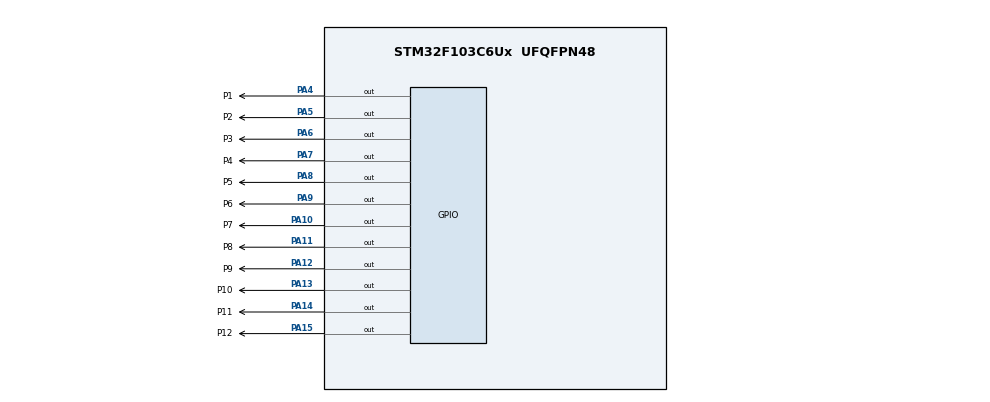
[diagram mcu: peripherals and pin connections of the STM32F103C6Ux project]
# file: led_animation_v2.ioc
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Mcu.Family=STM32F1
Mcu.Name=STM32F103C6Ux
Mcu.Package=UFQFPN48
NVIC.PriorityGroup=NVIC_PRIORITYGROUP_4
PA10.GPIO_Label=P7
PA10.Signal=GPIO_Output
PA11.GPIO_Label=P8
PA11.Signal=GPIO_Output
PA12.GPIO_Label=P9
PA12.Signal=GPIO_Output
PA13.GPIO_Label=P10
PA13.Signal=GPIO_Output
PA14.GPIO_Label=P11
PA14.Signal=GPIO_Output
PA15.GPIO_Label=P12
PA15.Signal=GPIO_Output
PA4.GPIO_Label=P1
PA4.Signal=GPIO_Output
PA5.GPIO_Label=P2
PA5.Signal=GPIO_Output
PA6.GPIO_Label=P3
PA6.Signal=GPIO_Output
PA7.GPIO_Label=P4
PA7.Signal=GPIO_Output
PA8.GPIO_Label=P5
PA8.Signal=GPIO_Output
PA9.GPIO_Label=P6
PA9.Signal=GPIO_Output
ProjectManager.HeapSize=0x200
ProjectManager.StackSize=0x400
ProjectManager.TargetToolchain=STM32CubeIDE
RCC.APB1Freq_Value=8000000
RCC.APB2Freq_Value=8000000
VP_SYS_VS_ND.Mode=No_Debug
board=custom

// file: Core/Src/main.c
/* USER CODE BEGIN Header */
/**
  ******************************************************************************
  * @file           : main.c
  * @brief          : Main program body
  ******************************************************************************
  * @attention
  *
  * <h2><center>&copy; Copyright (c) 2022 STMicroelectronics.
  * All rights reserved.</center></h2>
  *
  * This software component is licensed by ST under BSD 3-Clause license,
  * the "License"; You may not use this file except in compliance with the
  * License. You may obtain a copy of the License at:
  *                        opensource.org/licenses/BSD-3-Clause
  *
  ******************************************************************************
  */
/* USER CODE END Header */
#include "main.h"

void SystemClock_Config(void);
static void MX_GPIO_Init(void);
/* USER CODE BEGIN PFP */
void AnalogClock(int num);
void clearAllClock();
void clockDisplay(int hour, int min, int sec);
void singleLedDisplay(int num);
/* USER CODE END PFP */

int main(void)
{

  /* MCU Configuration--------------------------------------------------------*/

  /* Reset of all peripherals, Initializes the Flash interface and the Systick. */
  HAL_Init();

  /* Configure the system clock */
  SystemClock_Config();

  /* Initialize all configured peripherals */
  MX_GPIO_Init();

  /* Infinite loop */
  /* USER CODE BEGIN WHILE */
  int hour = 0, min = 0, sec = 0;

  while (1)
  {
	  //EX6

	  /*for(int i = 1; i <= 12; i++){
		  AnalogClock(i);
		  if(i >= 12) i = 0;
		  HAL_Delay (1000);
	  }*/
	  //ex10
	  sec++;

	  if(sec >= 60){
		  sec = 0;
		  min++;
	  }
	  if(min >= 60){
		  hour++;
		  min = 0;
	  }
	  if(hour >= 24) hour = 0;
	  //display
	  clockDisplay(hour, min, sec);
	  HAL_Delay (20);
    /* USER CODE END WHILE */

  }
}

void SystemClock_Config(void)
{
  RCC_OscInitTypeDef RCC_OscInitStruct = {0};
  RCC_ClkInitTypeDef RCC_ClkInitStruct = {0};

  /** Initializes the RCC Oscillators according to the specified parameters
  * in the RCC_OscInitTypeDef structure.
  */
  RCC_OscInitStruct.OscillatorType = RCC_OSCILLATORTYPE_HSI;
  RCC_OscInitStruct.HSIState = RCC_HSI_ON;
  RCC_OscInitStruct.HSICalibrationValue = RCC_HSICALIBRATION_DEFAULT;
  RCC_OscInitStruct.PLL.PLLState = RCC_PLL_NONE;
  if (HAL_RCC_OscConfig(&RCC_OscInitStruct) != HAL_OK)
  {
    Error_Handler();
  }
  /** Initializes the CPU, AHB and APB buses clocks
  */
  RCC_ClkInitStruct.ClockType = RCC_CLOCKTYPE_HCLK|RCC_CLOCKTYPE_SYSCLK
                              |RCC_CLOCKTYPE_PCLK1|RCC_CLOCKTYPE_PCLK2;
  RCC_ClkInitStruct.SYSCLKSource = RCC_SYSCLKSOURCE_HSI;
  RCC_ClkInitStruct.AHBCLKDivider = RCC_SYSCLK_DIV1;
  RCC_ClkInitStruct.APB1CLKDivider = RCC_HCLK_DIV1;
  RCC_ClkInitStruct.APB2CLKDivider = RCC_HCLK_DIV1;

  if (HAL_RCC_ClockConfig(&RCC_ClkInitStruct, FLASH_LATENCY_0) != HAL_OK)
  {
    Error_Handler();
  }
}

static void MX_GPIO_Init(void)
{
  GPIO_InitTypeDef GPIO_InitStruct = {0};

  /* GPIO Ports Clock Enable */
  __HAL_RCC_GPIOA_CLK_ENABLE();

  /*Configure GPIO pin Output Level */
  HAL_GPIO_WritePin(GPIOA, P1_Pin|P2_Pin|P3_Pin|P4_Pin
                          |P5_Pin|P6_Pin|P7_Pin|P8_Pin
                          |P9_Pin|P10_Pin|P11_Pin|P12_Pin, GPIO_PIN_RESET);

  /*Configure GPIO pins : P1_Pin P2_Pin P3_Pin P4_Pin
                           P5_Pin P6_Pin P7_Pin P8_Pin
                           P9_Pin P10_Pin P11_Pin P12_Pin */
  GPIO_InitStruct.Pin = P1_Pin|P2_Pin|P3_Pin|P4_Pin
                          |P5_Pin|P6_Pin|P7_Pin|P8_Pin
                          |P9_Pin|P10_Pin|P11_Pin|P12_Pin;
  GPIO_InitStruct.Mode = GPIO_MODE_OUTPUT_PP;
  GPIO_InitStruct.Pull = GPIO_NOPULL;
  GPIO_InitStruct.Speed = GPIO_SPEED_FREQ_LOW;
  HAL_GPIO_Init(GPIOA, &GPIO_InitStruct);

}

/* USER CODE BEGIN 4 */
void clockDisplay(int hour, int min, int sec){
	  int hourD, minD, secD;
	  if(sec%5 >= 3){
	  	  secD = sec/5+1;
	  }
	  else{
          if(sec/5 == 0) secD = 12;
  	      else secD = sec/5;
	  }
	  if(min%5 >= 3){
		  minD = min/5+1;
	  }
	  else{
  	      if(min/5 == 0) minD = 12;
	 	  else minD = min/5;
	  }
	  if(hour%12 == 0){
	  	  hourD = 12;
	  }
	  else hourD = hour%12;

	  clearAllClock();
	  singleLedDisplay(secD);
	  singleLedDisplay(minD);
	  singleLedDisplay(hourD);
}

void singleLedDisplay(int num){
	switch(num){
	case 1:
		HAL_GPIO_WritePin ( P1_GPIO_Port , P1_Pin ,GPIO_PIN_RESET );
		break;
	case 2:
		HAL_GPIO_WritePin ( P2_GPIO_Port , P2_Pin ,GPIO_PIN_RESET );
		break;
	case 3:
		HAL_GPIO_WritePin ( P3_GPIO_Port , P3_Pin ,GPIO_PIN_RESET );
		break;
	case 4:
		HAL_GPIO_WritePin ( P4_GPIO_Port , P4_Pin ,GPIO_PIN_RESET );
		break;
	case 5:
		HAL_GPIO_WritePin ( P5_GPIO_Port , P5_Pin ,GPIO_PIN_RESET );
		break;
	case 6:
		HAL_GPIO_WritePin ( P6_GPIO_Port , P6_Pin ,GPIO_PIN_RESET );
		break;
	case 7:
		HAL_GPIO_WritePin ( P7_GPIO_Port , P7_Pin ,GPIO_PIN_RESET );
		break;
	case 8:
		HAL_GPIO_WritePin ( P8_GPIO_Port , P8_Pin ,GPIO_PIN_RESET );
		break;
	case 9:
		HAL_GPIO_WritePin ( P9_GPIO_Port , P9_Pin ,GPIO_PIN_RESET );
		break;
	case 10:
		HAL_GPIO_WritePin ( P10_GPIO_Port , P10_Pin ,GPIO_PIN_RESET );
		break;
	case 11:
		HAL_GPIO_WritePin ( P11_GPIO_Port , P11_Pin ,GPIO_PIN_RESET );
		break;
	case 12:
		HAL_GPIO_WritePin ( P12_GPIO_Port , P12_Pin ,GPIO_PIN_RESET );
		break;
	default:
		HAL_GPIO_WritePin ( P12_GPIO_Port , P12_Pin ,GPIO_PIN_RESET );
		break;
	}
}

void clearAllClock() {
	HAL_GPIO_WritePin ( P1_GPIO_Port , P1_Pin ,GPIO_PIN_SET );
	HAL_GPIO_WritePin ( P2_GPIO_Port , P2_Pin ,GPIO_PIN_SET );
	HAL_GPIO_WritePin ( P3_GPIO_Port , P3_Pin ,GPIO_PIN_SET );
	HAL_GPIO_WritePin ( P4_GPIO_Port , P4_Pin ,GPIO_PIN_SET );
	HAL_GPIO_WritePin ( P5_GPIO_Port , P5_Pin ,GPIO_PIN_SET );
	HAL_GPIO_WritePin ( P6_GPIO_Port , P6_Pin ,GPIO_PIN_SET );
	HAL_GPIO_WritePin ( P7_GPIO_Port , P7_Pin ,GPIO_PIN_SET );
	HAL_GPIO_WritePin ( P8_GPIO_Port , P8_Pin ,GPIO_PIN_SET );
	HAL_GPIO_WritePin ( P9_GPIO_Port , P9_Pin ,GPIO_PIN_SET );
	HAL_GPIO_WritePin ( P10_GPIO_Port , P10_Pin ,GPIO_PIN_SET );
	HAL_GPIO_WritePin ( P11_GPIO_Port , P11_Pin ,GPIO_PIN_SET );
	HAL_GPIO_WritePin ( P12_GPIO_Port , P12_Pin ,GPIO_PIN_SET );
}
void AnalogClock(int num){
	switch(num){
	case 1:
		HAL_GPIO_WritePin ( P1_GPIO_Port , P1_Pin ,GPIO_PIN_RESET );
		HAL_GPIO_WritePin ( P2_GPIO_Port , P2_Pin ,GPIO_PIN_SET );
		HAL_GPIO_WritePin ( P3_GPIO_Port , P3_Pin ,GPIO_PIN_SET );
		HAL_GPIO_WritePin ( P4_GPIO_Port , P4_Pin ,GPIO_PIN_SET );
		HAL_GPIO_WritePin ( P5_GPIO_Port , P5_Pin ,GPIO_PIN_SET );
		HAL_GPIO_WritePin ( P6_GPIO_Port , P6_Pin ,GPIO_PIN_SET );
		HAL_GPIO_WritePin ( P7_GPIO_Port , P7_Pin ,GPIO_PIN_SET );
		HAL_GPIO_WritePin ( P8_GPIO_Port , P8_Pin ,GPIO_PIN_SET );
		HAL_GPIO_WritePin ( P9_GPIO_Port , P9_Pin ,GPIO_PIN_SET );
		HAL_GPIO_WritePin ( P10_GPIO_Port , P10_Pin ,GPIO_PIN_SET );
		HAL_GPIO_WritePin ( P11_GPIO_Port , P11_Pin ,GPIO_PIN_SET );
		HAL_GPIO_WritePin ( P12_GPIO_Port , P12_Pin ,GPIO_PIN_SET );
		break;
	case 2:
		HAL_GPIO_WritePin ( P1_GPIO_Port , P1_Pin ,GPIO_PIN_SET );
		HAL_GPIO_WritePin ( P2_GPIO_Port , P2_Pin ,GPIO_PIN_RESET );
		HAL_GPIO_WritePin ( P3_GPIO_Port , P3_Pin ,GPIO_PIN_SET );
		HAL_GPIO_WritePin ( P4_GPIO_Port , P4_Pin ,GPIO_PIN_SET );
		HAL_GPIO_WritePin ( P5_GPIO_Port , P5_Pin ,GPIO_PIN_SET );
		HAL_GPIO_WritePin ( P6_GPIO_Port , P6_Pin ,GPIO_PIN_SET );
		HAL_GPIO_WritePin ( P7_GPIO_Port , P7_Pin ,GPIO_PIN_SET );
		HAL_GPIO_WritePin ( P8_GPIO_Port , P8_Pin ,GPIO_PIN_SET );
		HAL_GPIO_WritePin ( P9_GPIO_Port , P9_Pin ,GPIO_PIN_SET );
		HAL_GPIO_WritePin ( P10_GPIO_Port , P10_Pin ,GPIO_PIN_SET );
		HAL_GPIO_WritePin ( P11_GPIO_Port , P11_Pin ,GPIO_PIN_SET );
		HAL_GPIO_WritePin ( P12_GPIO_Port , P12_Pin ,GPIO_PIN_SET );
		break;
	case 3:
		HAL_GPIO_WritePin ( P1_GPIO_Port , P1_Pin ,GPIO_PIN_SET );
		HAL_GPIO_WritePin ( P2_GPIO_Port , P2_Pin ,GPIO_PIN_SET );
		HAL_GPIO_WritePin ( P3_GPIO_Port , P3_Pin ,GPIO_PIN_RESET );
		HAL_GPIO_WritePin ( P4_GPIO_Port , P4_Pin ,GPIO_PIN_SET );
		HAL_GPIO_WritePin ( P5_GPIO_Port , P5_Pin ,GPIO_PIN_SET );
		HAL_GPIO_WritePin ( P6_GPIO_Port , P6_Pin ,GPIO_PIN_SET );
		HAL_GPIO_WritePin ( P7_GPIO_Port , P7_Pin ,GPIO_PIN_SET );
		HAL_GPIO_WritePin ( P8_GPIO_Port , P8_Pin ,GPIO_PIN_SET );
		HAL_GPIO_WritePin ( P9_GPIO_Port , P9_Pin ,GPIO_PIN_SET );
		HAL_GPIO_WritePin ( P10_GPIO_Port , P10_Pin ,GPIO_PIN_SET );
		HAL_GPIO_WritePin ( P11_GPIO_Port , P11_Pin ,GPIO_PIN_SET );
		HAL_GPIO_WritePin ( P12_GPIO_Port , P12_Pin ,GPIO_PIN_SET );
		break;
	case 4:
		HAL_GPIO_WritePin ( P1_GPIO_Port , P1_Pin ,GPIO_PIN_SET );
		HAL_GPIO_WritePin ( P2_GPIO_Port , P2_Pin ,GPIO_PIN_SET );
		HAL_GPIO_WritePin ( P3_GPIO_Port , P3_Pin ,GPIO_PIN_SET );
		HAL_GPIO_WritePin ( P4_GPIO_Port , P4_Pin ,GPIO_PIN_RESET );
		HAL_GPIO_WritePin ( P5_GPIO_Port , P5_Pin ,GPIO_PIN_SET );
		HAL_GPIO_WritePin ( P6_GPIO_Port , P6_Pin ,GPIO_PIN_SET );
		HAL_GPIO_WritePin ( P7_GPIO_Port , P7_Pin ,GPIO_PIN_SET );
		HAL_GPIO_WritePin ( P8_GPIO_Port , P8_Pin ,GPIO_PIN_SET );
		HAL_GPIO_WritePin ( P9_GPIO_Port , P9_Pin ,GPIO_PIN_SET );
		HAL_GPIO_WritePin ( P10_GPIO_Port , P10_Pin ,GPIO_PIN_SET );
		HAL_GPIO_WritePin ( P11_GPIO_Port , P11_Pin ,GPIO_PIN_SET );
		HAL_GPIO_WritePin ( P12_GPIO_Port , P12_Pin ,GPIO_PIN_SET );
		break;
	case 5:
		HAL_GPIO_WritePin ( P1_GPIO_Port , P1_Pin ,GPIO_PIN_SET );
		HAL_GPIO_WritePin ( P2_GPIO_Port , P2_Pin ,GPIO_PIN_SET );
		HAL_GPIO_WritePin ( P3_GPIO_Port , P3_Pin ,GPIO_PIN_SET );
		HAL_GPIO_WritePin ( P4_GPIO_Port , P4_Pin ,GPIO_PIN_SET );
		HAL_GPIO_WritePin ( P5_GPIO_Port , P5_Pin ,GPIO_PIN_RESET );
		HAL_GPIO_WritePin ( P6_GPIO_Port , P6_Pin ,GPIO_PIN_SET );
		HAL_GPIO_WritePin ( P7_GPIO_Port , P7_Pin ,GPIO_PIN_SET );
		HAL_GPIO_WritePin ( P8_GPIO_Port , P8_Pin ,GPIO_PIN_SET );
		HAL_GPIO_WritePin ( P9_GPIO_Port , P9_Pin ,GPIO_PIN_SET );
		HAL_GPIO_WritePin ( P10_GPIO_Port , P10_Pin ,GPIO_PIN_SET );
		HAL_GPIO_WritePin ( P11_GPIO_Port , P11_Pin ,GPIO_PIN_SET );
		HAL_GPIO_WritePin ( P12_GPIO_Port , P12_Pin ,GPIO_PIN_SET );
		break;
	case 6:
		HAL_GPIO_WritePin ( P1_GPIO_Port , P1_Pin ,GPIO_PIN_SET );
		HAL_GPIO_WritePin ( P2_GPIO_Port , P2_Pin ,GPIO_PIN_SET );
		HAL_GPIO_WritePin ( P3_GPIO_Port , P3_Pin ,GPIO_PIN_SET );
		HAL_GPIO_WritePin ( P4_GPIO_Port , P4_Pin ,GPIO_PIN_SET );
		HAL_GPIO_WritePin ( P5_GPIO_Port , P5_Pin ,GPIO_PIN_SET );
		HAL_GPIO_WritePin ( P6_GPIO_Port , P6_Pin ,GPIO_PIN_RESET );
		HAL_GPIO_WritePin ( P7_GPIO_Port , P7_Pin ,GPIO_PIN_SET );
		HAL_GPIO_WritePin ( P8_GPIO_Port , P8_Pin ,GPIO_PIN_SET );
		HAL_GPIO_WritePin ( P9_GPIO_Port , P9_Pin ,GPIO_PIN_SET );
		HAL_GPIO_WritePin ( P10_GPIO_Port , P10_Pin ,GPIO_PIN_SET );
		HAL_GPIO_WritePin ( P11_GPIO_Port , P11_Pin ,GPIO_PIN_SET );
		HAL_GPIO_WritePin ( P12_GPIO_Port , P12_Pin ,GPIO_PIN_SET );
		break;
	case 7:
		HAL_GPIO_WritePin ( P1_GPIO_Port , P1_Pin ,GPIO_PIN_SET );
		HAL_GPIO_WritePin ( P2_GPIO_Port , P2_Pin ,GPIO_PIN_SET );
		HAL_GPIO_WritePin ( P3_GPIO_Port , P3_Pin ,GPIO_PIN_SET );
		HAL_GPIO_WritePin ( P4_GPIO_Port , P4_Pin ,GPIO_PIN_SET );
		HAL_GPIO_WritePin ( P5_GPIO_Port , P5_Pin ,GPIO_PIN_SET );
		HAL_GPIO_WritePin ( P6_GPIO_Port , P6_Pin ,GPIO_PIN_SET );
		HAL_GPIO_WritePin ( P7_GPIO_Port , P7_Pin ,GPIO_PIN_RESET );
		HAL_GPIO_WritePin ( P8_GPIO_Port , P8_Pin ,GPIO_PIN_SET );
		HAL_GPIO_WritePin ( P9_GPIO_Port , P9_Pin ,GPIO_PIN_SET );
		HAL_GPIO_WritePin ( P10_GPIO_Port , P10_Pin ,GPIO_PIN_SET );
		HAL_GPIO_WritePin ( P11_GPIO_Port , P11_Pin ,GPIO_PIN_SET );
		HAL_GPIO_WritePin ( P12_GPIO_Port , P12_Pin ,GPIO_PIN_SET );
		break;
	case 8:
		HAL_GPIO_WritePin ( P1_GPIO_Port , P1_Pin ,GPIO_PIN_SET );
		HAL_GPIO_WritePin ( P2_GPIO_Port , P2_Pin ,GPIO_PIN_SET );
		HAL_GPIO_WritePin ( P3_GPIO_Port , P3_Pin ,GPIO_PIN_SET );
		HAL_GPIO_WritePin ( P4_GPIO_Port , P4_Pin ,GPIO_PIN_SET );
		HAL_GPIO_WritePin ( P5_GPIO_Port , P5_Pin ,GPIO_PIN_SET );
		HAL_GPIO_WritePin ( P6_GPIO_Port , P6_Pin ,GPIO_PIN_SET );
		HAL_GPIO_WritePin ( P7_GPIO_Port , P7_Pin ,GPIO_PIN_SET );
		HAL_GPIO_WritePin ( P8_GPIO_Port , P8_Pin ,GPIO_PIN_RESET );
		HAL_GPIO_WritePin ( P9_GPIO_Port , P9_Pin ,GPIO_PIN_SET );
		HAL_GPIO_WritePin ( P10_GPIO_Port , P10_Pin ,GPIO_PIN_SET );
		HAL_GPIO_WritePin ( P11_GPIO_Port , P11_Pin ,GPIO_PIN_SET );
		HAL_GPIO_WritePin ( P12_GPIO_Port , P12_Pin ,GPIO_PIN_SET );
		break;
	case 9:
		HAL_GPIO_WritePin ( P1_GPIO_Port , P1_Pin ,GPIO_PIN_SET );
		HAL_GPIO_WritePin ( P2_GPIO_Port , P2_Pin ,GPIO_PIN_SET );
		HAL_GPIO_WritePin ( P3_GPIO_Port , P3_Pin ,GPIO_PIN_SET );
		HAL_GPIO_WritePin ( P4_GPIO_Port , P4_Pin ,GPIO_PIN_SET );
		HAL_GPIO_WritePin ( P5_GPIO_Port , P5_Pin ,GPIO_PIN_SET );
		HAL_GPIO_WritePin ( P6_GPIO_Port , P6_Pin ,GPIO_PIN_SET );
		HAL_GPIO_WritePin ( P7_GPIO_Port , P7_Pin ,GPIO_PIN_SET );
		HAL_GPIO_WritePin ( P8_GPIO_Port , P8_Pin ,GPIO_PIN_SET );
		HAL_GPIO_WritePin ( P9_GPIO_Port , P9_Pin ,GPIO_PIN_RESET );
		HAL_GPIO_WritePin ( P10_GPIO_Port , P10_Pin ,GPIO_PIN_SET );
		HAL_GPIO_WritePin ( P11_GPIO_Port , P11_Pin ,GPIO_PIN_SET );
		HAL_GPIO_WritePin ( P12_GPIO_Port , P12_Pin ,GPIO_PIN_SET );
		break;
	case 10:
		HAL_GPIO_WritePin ( P1_GPIO_Port , P1_Pin ,GPIO_PIN_SET );
		HAL_GPIO_WritePin ( P2_GPIO_Port , P2_Pin ,GPIO_PIN_SET );
		HAL_GPIO_WritePin ( P3_GPIO_Port , P3_Pin ,GPIO_PIN_SET );
		HAL_GPIO_WritePin ( P4_GPIO_Port , P4_Pin ,GPIO_PIN_SET );
		HAL_GPIO_WritePin ( P5_GPIO_Port , P5_Pin ,GPIO_PIN_SET );
		HAL_GPIO_WritePin ( P6_GPIO_Port , P6_Pin ,GPIO_PIN_SET );
		HAL_GPIO_WritePin ( P7_GPIO_Port , P7_Pin ,GPIO_PIN_SET );
		HAL_GPIO_WritePin ( P8_GPIO_Port , P8_Pin ,GPIO_PIN_SET );
		HAL_GPIO_WritePin ( P9_GPIO_Port , P9_Pin ,GPIO_PIN_SET );
		HAL_GPIO_WritePin ( P10_GPIO_Port , P10_Pin ,GPIO_PIN_RESET );
		HAL_GPIO_WritePin ( P11_GPIO_Port , P11_Pin ,GPIO_PIN_SET );
		HAL_GPIO_WritePin ( P12_GPIO_Port , P12_Pin ,GPIO_PIN_SET );
		break;
	case 11:
		HAL_GPIO_WritePin ( P1_GPIO_Port , P1_Pin ,GPIO_PIN_SET );
		HAL_GPIO_WritePin ( P2_GPIO_Port , P2_Pin ,GPIO_PIN_SET );
		HAL_GPIO_WritePin ( P3_GPIO_Port , P3_Pin ,GPIO_PIN_SET );
		HAL_GPIO_WritePin ( P4_GPIO_Port , P4_Pin ,GPIO_PIN_SET );
		HAL_GPIO_WritePin ( P5_GPIO_Port , P5_Pin ,GPIO_PIN_SET );
		HAL_GPIO_WritePin ( P6_GPIO_Port , P6_Pin ,GPIO_PIN_SET );
		HAL_GPIO_WritePin ( P7_GPIO_Port , P7_Pin ,GPIO_PIN_SET );
		HAL_GPIO_WritePin ( P8_GPIO_Port , P8_Pin ,GPIO_PIN_SET );
		HAL_GPIO_WritePin ( P9_GPIO_Port , P9_Pin ,GPIO_PIN_SET );
		HAL_GPIO_WritePin ( P10_GPIO_Port , P10_Pin ,GPIO_PIN_SET );
		HAL_GPIO_WritePin ( P11_GPIO_Port , P11_Pin ,GPIO_PIN_RESET );
		HAL_GPIO_WritePin ( P12_GPIO_Port , P12_Pin ,GPIO_PIN_SET );
		break;
	case 12:
		HAL_GPIO_WritePin ( P1_GPIO_Port , P1_Pin ,GPIO_PIN_SET );
		HAL_GPIO_WritePin ( P2_GPIO_Port , P2_Pin ,GPIO_PIN_SET );
		HAL_GPIO_WritePin ( P3_GPIO_Port , P3_Pin ,GPIO_PIN_SET );
		HAL_GPIO_WritePin ( P4_GPIO_Port , P4_Pin ,GPIO_PIN_SET );
		HAL_GPIO_WritePin ( P5_GPIO_Port , P5_Pin ,GPIO_PIN_SET );
		HAL_GPIO_WritePin ( P6_GPIO_Port , P6_Pin ,GPIO_PIN_SET );
		HAL_GPIO_WritePin ( P7_GPIO_Port , P7_Pin ,GPIO_PIN_SET );
		HAL_GPIO_WritePin ( P8_GPIO_Port , P8_Pin ,GPIO_PIN_SET );
		HAL_GPIO_WritePin ( P9_GPIO_Port , P9_Pin ,GPIO_PIN_SET );
		HAL_GPIO_WritePin ( P10_GPIO_Port , P10_Pin ,GPIO_PIN_SET );
		HAL_GPIO_WritePin ( P11_GPIO_Port , P11_Pin ,GPIO_PIN_SET );
		HAL_GPIO_WritePin ( P12_GPIO_Port , P12_Pin ,GPIO_PIN_RESET );
		break;
	default:
		HAL_GPIO_WritePin ( P1_GPIO_Port , P1_Pin ,GPIO_PIN_SET );
		HAL_GPIO_WritePin ( P2_GPIO_Port , P2_Pin ,GPIO_PIN_SET );
		HAL_GPIO_WritePin ( P3_GPIO_Port , P3_Pin ,GPIO_PIN_SET );
		HAL_GPIO_WritePin ( P4_GPIO_Port , P4_Pin ,GPIO_PIN_SET );
		HAL_GPIO_WritePin ( P5_GPIO_Port , P5_Pin ,GPIO_PIN_SET );
		HAL_GPIO_WritePin ( P6_GPIO_Port , P6_Pin ,GPIO_PIN_SET );
		HAL_GPIO_WritePin ( P7_GPIO_Port , P7_Pin ,GPIO_PIN_SET );
		HAL_GPIO_WritePin ( P8_GPIO_Port , P8_Pin ,GPIO_PIN_SET );
		HAL_GPIO_WritePin ( P9_GPIO_Port , P9_Pin ,GPIO_PIN_SET );
		HAL_GPIO_WritePin ( P10_GPIO_Port , P10_Pin ,GPIO_PIN_SET );
		HAL_GPIO_WritePin ( P11_GPIO_Port , P11_Pin ,GPIO_PIN_SET );
		HAL_GPIO_WritePin ( P12_GPIO_Port , P12_Pin ,GPIO_PIN_RESET );
		break;
	}
}
/* USER CODE END 4 */

void Error_Handler(void)
{
  __disable_irq();
  while (1)
  {
  }
}

/************************ (C) COPYRIGHT STMicroelectronics *****END OF FILE****/
